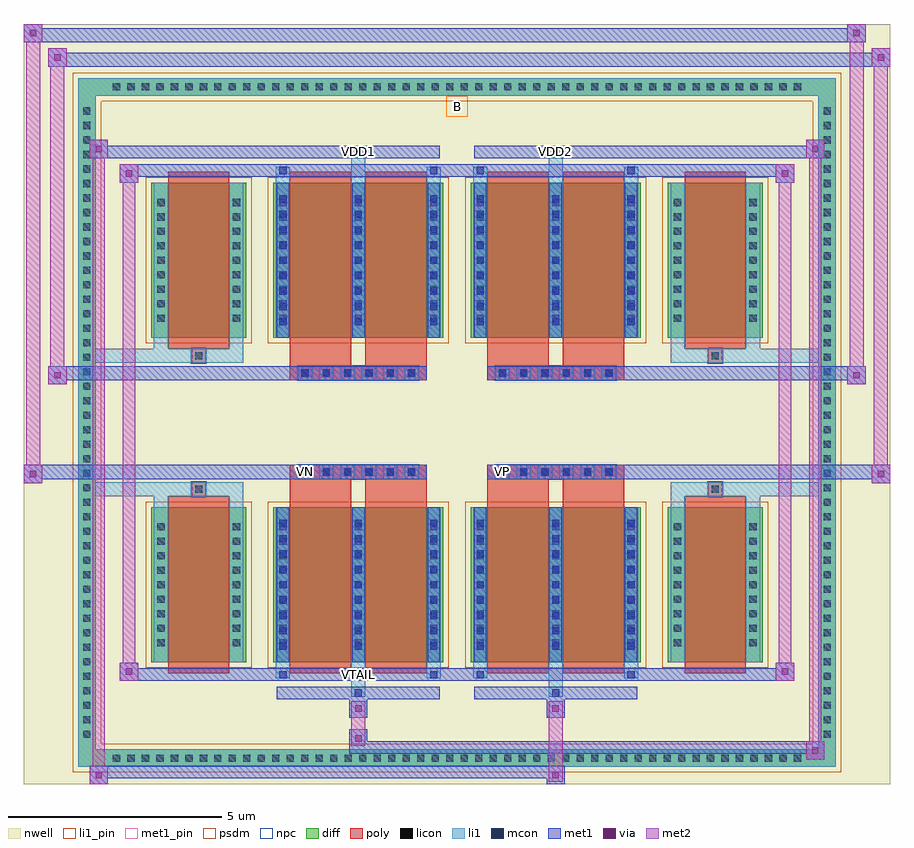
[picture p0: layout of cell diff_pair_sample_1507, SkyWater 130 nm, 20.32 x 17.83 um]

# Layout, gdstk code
import gdstk
lib = gdstk.Library(unit=1e-6, precision=5e-09)
def R(c, l, rs):  # rectangles x0, y0, x1, y1
    for r in rs: c.add(gdstk.rectangle(r[:2], r[2:], *l))
def A(c, l, x, y, w, h, nx, ny, dx, dy):  # array of equal rectangles
    R(c, l, [(x+i*dx, y+j*dy, x+i*dx+w, y+j*dy+h) for i in range(nx) for j in range(ny)])
def P(c, l, *ps):  # polygons
    for p in ps: c.add(gdstk.Polygon(p, *l))
nwell = (64, 20)
diff = (65, 20)
poly = (66, 20)
licon = (66, 44)
li1_pin = (67, 16)
li1 = (67, 20)
mcon = (67, 44)
met1_pin = (68, 16)
met1 = (68, 20)
via = (68, 44)
met2 = (69, 20)
psdm = (94, 20)
npc = (95, 20)

diff_pair_sample_1507 = lib.new_cell('diff_pair_sample_1507')
R(diff_pair_sample_1507, nwell, [(-10.16,-8.48,10.16,9.35), (-7.48,-6.67,-0.01,-0.795), (0.01,-6.67,7.48,-0.795), (-7.48,0.795,-0.01,6.67), (0.01,0.795,7.48,6.67)])
A(diff_pair_sample_1507, diff, -8.195, -8.08, 0.41, 0.41, 48, 2, 0.34, 15.75)
A(diff_pair_sample_1507, diff, -8.89, -7.515, 0.41, 0.41, 1, 44, 0, 0.34)
A(diff_pair_sample_1507, diff, 8.48, -7.515, 0.41, 0.41, 1, 44, 0, 0.34)
R(diff_pair_sample_1507, diff, [(-8.195,-8.08,8.195,-7.67), (-8.89,-7.515,-8.48,7.515), (8.48,-7.515,8.89,7.515), (-7.17,-5.625,-4.95,-1.985), (-4.31,-5.625,-0.32,-1.985), (0.32,-5.625,4.31,-1.985), (4.95,-5.625,7.17,-1.985), (-7.17,1.985,-4.95,5.625), (-4.31,1.985,-0.32,5.625), (0.32,1.985,4.31,5.625), (4.95,1.985,7.17,5.625), (-8.195,7.67,8.195,8.08)])
P(diff_pair_sample_1507, diff, [(8.89,8.08),(-8.89,8.08),(-8.89,-7.67),(-8.48,-7.67),(-8.48,7.67),(8.48,7.67),(8.48,-7.67),(-8.48,-7.67),(-8.89,-7.67),(-8.89,-8.08),(8.89,-8.08)])
A(diff_pair_sample_1507, poly, -3.73, -1.325, 0.33, 0.33, 6, 2, 0.5, 2.32)
A(diff_pair_sample_1507, poly, 0.9, -1.325, 0.33, 0.33, 6, 2, 0.5, 2.32)
R(diff_pair_sample_1507, poly, [(-6.78,-5.88,-5.34,-1.73), (-3.92,-5.88,-2.48,-1.73), (-2.15,-5.88,-0.71,-1.73), (0.71,-5.88,2.15,-1.73), (2.48,-5.88,3.92,-1.73), (5.34,-5.88,6.78,-1.73), (-6.225,-1.73,-5.895,-1.4), (-6.225,-1.73,-5.895,-1.4), (-3.92,-1.73,-2.48,-1.325), (-2.15,-1.73,-0.71,-1.325), (0.71,-1.73,2.15,-1.325), (2.48,-1.73,3.92,-1.325), (5.895,-1.73,6.225,-1.4), (5.895,-1.73,6.225,-1.4), (-3.92,-1.325,-0.71,-0.995), (0.71,-1.325,3.92,-0.995), (-3.92,0.995,-0.71,1.325), (0.71,0.995,3.92,1.325), (-3.92,1.325,-2.48,1.73), (-2.15,1.325,-0.71,1.73), (0.71,1.325,2.15,1.73), (2.48,1.325,3.92,1.73), (-6.225,1.4,-5.895,1.73), (-6.225,1.4,-5.895,1.73), (5.895,1.4,6.225,1.73), (5.895,1.4,6.225,1.73), (-6.78,1.73,-5.34,5.88), (-3.92,1.73,-2.48,5.88), (-2.15,1.73,-0.71,5.88), (0.71,1.73,2.15,5.88), (2.48,1.73,3.92,5.88), (5.34,1.73,6.78,5.88)])
A(diff_pair_sample_1507, licon, -8.075, -7.96, 0.17, 0.17, 48, 2, 0.34, 15.75)
A(diff_pair_sample_1507, licon, -8.77, -7.395, 0.17, 0.17, 1, 44, 0, 0.34)
A(diff_pair_sample_1507, licon, 8.6, -7.395, 0.17, 0.17, 1, 44, 0, 0.34)
A(diff_pair_sample_1507, licon, -7.03, -5.25, 0.17, 0.17, 1, 9, 0, 0.34)
A(diff_pair_sample_1507, licon, -5.26, -5.25, 0.17, 0.17, 1, 9, 0, 0.34)
A(diff_pair_sample_1507, licon, -4.17, -5.25, 0.17, 0.17, 3, 9, 1.77, 0.34)
A(diff_pair_sample_1507, licon, 0.46, -5.25, 0.17, 0.17, 3, 9, 1.77, 0.34)
A(diff_pair_sample_1507, licon, 5.09, -5.25, 0.17, 0.17, 1, 9, 0, 0.34)
A(diff_pair_sample_1507, licon, 6.86, -5.25, 0.17, 0.17, 1, 9, 0, 0.34)
A(diff_pair_sample_1507, licon, -3.65, -1.245, 0.17, 0.17, 6, 2, 0.5, 2.32)
A(diff_pair_sample_1507, licon, 0.98, -1.245, 0.17, 0.17, 6, 2, 0.5, 2.32)
A(diff_pair_sample_1507, licon, -7.03, 2.36, 0.17, 0.17, 1, 9, 0, 0.34)
A(diff_pair_sample_1507, licon, -5.26, 2.36, 0.17, 0.17, 1, 9, 0, 0.34)
A(diff_pair_sample_1507, licon, -4.17, 2.36, 0.17, 0.17, 3, 9, 1.77, 0.34)
A(diff_pair_sample_1507, licon, 0.46, 2.36, 0.17, 0.17, 3, 9, 1.77, 0.34)
A(diff_pair_sample_1507, licon, 5.09, 2.36, 0.17, 0.17, 1, 9, 0, 0.34)
A(diff_pair_sample_1507, licon, 6.86, 2.36, 0.17, 0.17, 1, 9, 0, 0.34)
R(diff_pair_sample_1507, licon, [(-6.145,-1.65,-5.975,-1.48), (5.975,-1.65,6.145,-1.48), (-6.145,1.48,-5.975,1.65), (5.975,1.48,6.145,1.65)])
R(diff_pair_sample_1507, li1_pin, [(-0.25,7.17,0.25,7.67)])
A(diff_pair_sample_1507, li1, -8.155, -8.04, 0.33, 0.33, 48, 2, 0.34, 15.75)
A(diff_pair_sample_1507, li1, -8.85, -7.475, 0.33, 0.33, 1, 44, 0, 0.34)
A(diff_pair_sample_1507, li1, 8.52, -7.475, 0.33, 0.33, 1, 44, 0, 0.34)
A(diff_pair_sample_1507, li1, -4.25, -5.625, 0.33, 3.64, 3, 2, 1.77, 7.61)
A(diff_pair_sample_1507, li1, 0.38, -5.625, 0.33, 3.64, 3, 2, 1.77, 7.61)
A(diff_pair_sample_1507, li1, -7.11, -5.33, 0.33, 0.33, 1, 9, 0, 0.34)
A(diff_pair_sample_1507, li1, -5.34, -5.33, 0.33, 0.33, 1, 9, 0, 0.34)
A(diff_pair_sample_1507, li1, -4.25, -5.33, 0.33, 0.33, 3, 9, 1.77, 0.34)
A(diff_pair_sample_1507, li1, -4.17, -5.33, 0.17, 0.17, 3, 9, 1.77, 0.36)
A(diff_pair_sample_1507, li1, -4.17, -5.33, 0.17, 3.05, 3, 2, 1.77, 7.61)
A(diff_pair_sample_1507, li1, 0.38, -5.33, 0.33, 0.33, 3, 9, 1.77, 0.34)
A(diff_pair_sample_1507, li1, 0.46, -5.33, 0.17, 0.17, 3, 9, 1.77, 0.36)
A(diff_pair_sample_1507, li1, 0.46, -5.33, 0.17, 3.05, 3, 2, 1.77, 7.61)
A(diff_pair_sample_1507, li1, 5.01, -5.33, 0.33, 0.33, 1, 9, 0, 0.34)
A(diff_pair_sample_1507, li1, 6.78, -5.33, 0.33, 0.33, 1, 9, 0, 0.34)
A(diff_pair_sample_1507, li1, -3.73, -1.325, 0.33, 0.33, 6, 2, 0.5, 2.32)
A(diff_pair_sample_1507, li1, 0.9, -1.325, 0.33, 0.33, 6, 2, 0.5, 2.32)
A(diff_pair_sample_1507, li1, -7.11, 2.28, 0.33, 0.33, 1, 9, 0, 0.34)
A(diff_pair_sample_1507, li1, -5.34, 2.28, 0.33, 0.33, 1, 9, 0, 0.34)
A(diff_pair_sample_1507, li1, -4.25, 2.28, 0.33, 0.33, 3, 9, 1.77, 0.34)
A(diff_pair_sample_1507, li1, -4.17, 2.28, 0.17, 0.17, 3, 9, 1.77, 0.36)
A(diff_pair_sample_1507, li1, 0.38, 2.28, 0.33, 0.33, 3, 9, 1.77, 0.34)
A(diff_pair_sample_1507, li1, 0.46, 2.28, 0.17, 0.17, 3, 9, 1.77, 0.36)
A(diff_pair_sample_1507, li1, 5.01, 2.28, 0.33, 0.33, 1, 9, 0, 0.34)
A(diff_pair_sample_1507, li1, 6.78, 2.28, 0.33, 0.33, 1, 9, 0, 0.34)
R(diff_pair_sample_1507, li1, [(-8.89,-8.08,-8.48,-7.67), (-8.89,-8.08,-8.48,-7.67), (-8.48,-8.08,8.48,-7.67), (8.48,-8.08,8.89,-7.67), (8.48,-8.08,8.89,-7.67), (-8.89,-7.67,-8.48,7.67), (8.48,-7.67,8.89,7.67), (-2.48,-6.43,-2.15,-5.625), (-2.4,-6.43,-2.23,-6.26), (2.15,-6.43,2.48,-5.625), (2.23,-6.43,2.4,-6.26), (-4.25,-6,-3.92,-5.625), (-4.17,-6,-4,-5.83), (-0.71,-6,-0.38,-5.625), (-0.63,-6,-0.46,-5.83), (0.38,-6,0.71,-5.625), (0.46,-6,0.63,-5.83), (3.92,-6,4.25,-5.625), (4,-6,4.17,-5.83), (-7.11,-5.625,-6.78,-1.985), (-5.34,-5.625,-5.01,-1.985), (5.01,-5.625,5.34,-1.985), (6.78,-5.625,7.11,-1.985), (-7.11,-1.985,-6.78,-1.4), (-5.34,-1.985,-5.01,-1.4), (5.01,-1.985,5.34,-1.4), (6.78,-1.985,7.11,-1.4), (-8.89,-1.73,-6.225,-1.4), (-7.11,-1.73,-6.225,-1.4), (-6.225,-1.73,-5.895,-1.4), (-5.895,-1.73,-5.01,-1.4), (5.01,-1.73,5.895,-1.4), (5.895,-1.73,6.225,-1.4), (5.895,-1.73,8.89,-1.4), (6.225,-1.73,7.11,-1.4), (-8.89,1.4,-6.225,1.73), (-7.11,1.4,-6.225,1.73), (-7.11,1.4,-6.78,1.985), (-6.225,1.4,-5.895,1.73), (-5.895,1.4,-5.01,1.73), (-5.34,1.4,-5.01,1.985), (5.01,1.4,5.895,1.73), (5.01,1.4,5.34,1.985), (5.895,1.4,6.225,1.73), (5.895,1.4,8.89,1.73), (6.225,1.4,7.11,1.73), (6.78,1.4,7.11,1.985), (-7.11,1.985,-6.78,5.625), (-5.34,1.985,-5.01,5.625), (5.01,1.985,5.34,5.625), (6.78,1.985,7.11,5.625), (-4.25,5.625,-3.92,6), (-2.48,5.625,-2.15,6.43), (-0.71,5.625,-0.38,6), (0.38,5.625,0.71,6), (2.15,5.625,2.48,6.43), (3.92,5.625,4.25,6), (-4.17,5.83,-4,6), (-0.63,5.83,-0.46,6), (0.46,5.83,0.63,6), (4,5.83,4.17,6), (-2.4,6.26,-2.23,6.43), (2.23,6.26,2.4,6.43), (-8.89,7.67,-8.48,8.08), (-8.89,7.67,-8.48,8.08), (-8.48,7.67,8.48,8.08), (8.48,7.67,8.89,8.08), (8.48,7.67,8.89,8.08)])
A(diff_pair_sample_1507, mcon, -4.17, -5.33, 0.17, 0.17, 3, 9, 1.77, 0.36)
A(diff_pair_sample_1507, mcon, 0.46, -5.33, 0.17, 0.17, 3, 9, 1.77, 0.36)
A(diff_pair_sample_1507, mcon, -3.65, -1.245, 0.17, 0.17, 6, 2, 0.5, 2.32)
A(diff_pair_sample_1507, mcon, 0.98, -1.245, 0.17, 0.17, 6, 2, 0.5, 2.32)
A(diff_pair_sample_1507, mcon, -4.17, 2.28, 0.17, 0.17, 3, 9, 1.77, 0.36)
A(diff_pair_sample_1507, mcon, 0.46, 2.28, 0.17, 0.17, 3, 9, 1.77, 0.36)
R(diff_pair_sample_1507, mcon, [(-2.4,-6.43,-2.23,-6.26), (2.23,-6.43,2.4,-6.26), (-4.17,-6,-4,-5.83), (-0.63,-6,-0.46,-5.83), (0.46,-6,0.63,-5.83), (4,-6,4.17,-5.83), (-4.17,5.83,-4,6), (-0.63,5.83,-0.46,6), (0.46,5.83,0.63,6), (4,5.83,4.17,6), (-2.4,6.26,-2.23,6.43), (2.23,6.26,2.4,6.43)])
R(diff_pair_sample_1507, met1_pin, [(-2.45,-6.04,-2.18,-5.77), (-3.7,-1.285,-3.43,-1.015), (0.93,-1.285,1.2,-1.015), (-2.45,6.22,-2.18,6.49), (2.18,6.22,2.45,6.49)])
A(diff_pair_sample_1507, met1, -4.23, -5.625, 0.29, 3.64, 3, 2, 1.77, 7.61)
A(diff_pair_sample_1507, met1, 0.4, -5.625, 0.29, 3.64, 3, 2, 1.77, 7.61)
A(diff_pair_sample_1507, met1, -4.23, -5.39, 0.29, 0.29, 3, 9, 1.77, 0.36)
A(diff_pair_sample_1507, met1, 0.4, -5.39, 0.29, 0.29, 3, 9, 1.77, 0.36)
A(diff_pair_sample_1507, met1, -3.71, -1.305, 0.29, 0.29, 6, 2, 0.5, 2.32)
A(diff_pair_sample_1507, met1, 0.92, -1.305, 0.29, 0.29, 6, 2, 0.5, 2.32)
A(diff_pair_sample_1507, met1, -4.23, 2.22, 0.29, 0.29, 3, 9, 1.77, 0.36)
A(diff_pair_sample_1507, met1, 0.4, 2.22, 0.29, 0.29, 3, 9, 1.77, 0.36)
R(diff_pair_sample_1507, met1, [(-8.62,-8.48,-8.19,-8.05), (2.1,-8.48,2.53,-8.05), (-8.62,-8.34,2.53,-8.05), (8.19,-7.91,8.62,-7.48), (-2.53,-7.77,8.62,-7.48), (-2.53,-7.63,-2.1,-7.2), (-2.53,-6.92,-2.1,-6.49), (2.1,-6.92,2.53,-6.49), (-4.23,-6.49,-0.4,-6.2), (-2.46,-6.49,-2.17,-6.2), (0.4,-6.49,4.23,-6.2), (2.17,-6.49,2.46,-6.2), (-7.91,-6.06,-7.48,-5.63), (-7.91,-6.06,-4.23,-5.77), (-4.23,-6.06,-3.94,-5.77), (-4.23,-6.06,-0.4,-5.77), (-0.69,-6.06,-0.4,-5.77), (-0.4,-6.06,0.4,-5.77), (0.4,-6.06,0.69,-5.77), (0.4,-6.06,4.23,-5.77), (3.94,-6.06,4.23,-5.77), (4.23,-6.06,7.91,-5.77), (7.48,-6.06,7.91,-5.63), (-10.16,-1.425,-9.73,-0.995), (9.73,-1.425,10.16,-0.995), (-10.16,-1.325,-0.71,-0.995), (-3.92,-1.325,-0.71,-0.995), (0.71,-1.325,3.92,-0.995), (0.71,-1.325,10.16,-0.995), (-9.59,0.895,-9.16,1.325), (9.16,0.895,9.59,1.325), (-9.59,0.995,-3.92,1.325), (-3.92,0.995,-0.71,1.325), (0.71,0.995,3.92,1.325), (3.92,0.995,9.59,1.325), (-7.91,5.63,-7.48,6.06), (7.48,5.63,7.91,6.06), (-7.91,5.77,-4.23,6.06), (-4.23,5.77,-3.94,6.06), (-4.23,5.77,-0.4,6.06), (-0.69,5.77,-0.4,6.06), (-0.4,5.77,0.4,6.06), (0.4,5.77,0.69,6.06), (0.4,5.77,4.23,6.06), (3.94,5.77,4.23,6.06), (4.23,5.77,7.91,6.06), (-8.62,6.2,-8.19,6.63), (-8.62,6.2,-4.23,6.49), (-4.23,6.2,-0.4,6.49), (-2.46,6.2,-2.17,6.49), (0.4,6.2,4.23,6.49), (2.17,6.2,2.46,6.49), (4.23,6.2,8.62,6.49), (8.19,6.2,8.62,6.63), (-9.59,8.35,-9.16,8.78), (-9.59,8.35,-7.48,8.68), (-7.48,8.35,7.48,8.68), (7.48,8.35,10.16,8.68), (9.73,8.35,10.16,8.78), (-10.16,8.92,-9.73,9.35), (-10.16,8.92,-7.48,9.25), (-7.48,8.92,7.48,9.25), (7.48,8.92,9.59,9.25), (9.16,8.92,9.59,9.35)])
R(diff_pair_sample_1507, via, [(-8.48,-8.34,-8.33,-8.19), (2.24,-8.34,2.39,-8.19), (8.33,-7.77,8.48,-7.62), (-2.39,-7.49,-2.24,-7.34), (-2.39,-6.78,-2.24,-6.63), (2.24,-6.78,2.39,-6.63), (-7.77,-5.92,-7.62,-5.77), (7.62,-5.92,7.77,-5.77), (-10.02,-1.285,-9.87,-1.135), (9.87,-1.285,10.02,-1.135), (-9.45,1.035,-9.3,1.185), (9.3,1.035,9.45,1.185), (-7.77,5.77,-7.62,5.92), (7.62,5.77,7.77,5.92), (-8.48,6.34,-8.33,6.49), (8.33,6.34,8.48,6.49), (-9.45,8.49,-9.3,8.64), (9.87,8.49,10.02,8.64), (-10.02,9.06,-9.87,9.21), (9.3,9.06,9.45,9.21)])
R(diff_pair_sample_1507, met2, [(-8.62,-8.48,-8.19,-8.05), (-8.55,-8.48,-8.26,6.63), (-8.26,-8.48,-8.19,-8.05), (-8.57,-8.43,-8.24,-8.1), (2.15,-8.43,2.48,-8.1), (2.15,-8.1,2.48,-6.87), (8.19,-7.91,8.62,-7.48), (8.26,-7.91,8.55,6.63), (8.55,-7.91,8.62,-7.48), (8.24,-7.86,8.57,-7.53), (-2.48,-7.58,-2.15,-7.25), (-2.48,-7.25,-2.15,-6.87), (-2.48,-6.87,-2.15,-6.54), (2.15,-6.87,2.48,-6.54), (-7.91,-6.06,-7.48,-5.63), (-7.84,-6.06,-7.55,6.06), (-7.55,-6.06,-7.48,-5.63), (7.48,-6.06,7.91,-5.63), (7.55,-6.06,7.84,6.06), (7.84,-6.06,7.91,-5.63), (-7.86,-6.01,-7.53,-5.68), (7.53,-6.01,7.86,-5.68), (-10.16,-1.425,-9.73,-0.995), (-10.11,-1.425,-9.78,9.35), (-9.78,-1.425,-9.73,-0.995), (9.73,-1.425,10.16,-0.995), (9.78,-1.425,10.11,8.78), (10.11,-1.425,10.16,-0.995), (-10.11,-1.375,-9.78,-1.045), (9.78,-1.375,10.11,-1.045), (-9.59,0.895,-9.16,1.325), (-9.54,0.895,-9.21,8.78), (-9.21,0.895,-9.16,1.325), (9.16,0.895,9.59,1.325), (9.21,0.895,9.54,9.35), (9.54,0.895,9.59,1.325), (-9.54,0.945,-9.21,1.275), (9.21,0.945,9.54,1.275), (-7.91,5.63,-7.48,6.06), (-7.55,5.63,-7.48,6.06), (7.48,5.63,7.91,6.06), (7.84,5.63,7.91,6.06), (-7.86,5.68,-7.53,6.01), (7.53,5.68,7.86,6.01), (-8.62,6.2,-8.19,6.63), (-8.26,6.2,-8.19,6.63), (8.19,6.2,8.62,6.63), (8.55,6.2,8.62,6.63), (-8.57,6.25,-8.24,6.58), (8.24,6.25,8.57,6.58), (-9.59,8.35,-9.16,8.78), (-9.21,8.35,-9.16,8.78), (9.73,8.35,10.16,8.78), (10.11,8.35,10.16,8.78), (-9.54,8.4,-9.21,8.73), (9.78,8.4,10.11,8.73), (-10.16,8.92,-9.73,9.35), (-9.78,8.92,-9.73,9.35), (9.16,8.92,9.59,9.35), (9.54,8.92,9.59,9.35), (-10.11,8.97,-9.78,9.3), (9.21,8.97,9.54,9.3)])
R(diff_pair_sample_1507, psdm, [(-7.3,-5.755,-4.82,-1.855), (-4.44,-5.755,-0.19,-1.855), (0.19,-5.755,4.44,-1.855), (4.82,-5.755,7.3,-1.855), (-7.3,1.855,-4.82,5.755), (-4.44,1.855,-0.19,5.755), (0.19,1.855,4.44,5.755), (4.82,1.855,7.3,5.755)])
P(diff_pair_sample_1507, psdm, [(9.02,8.21),(-9.02,8.21),(-9.02,-7.54),(-8.35,-7.54),(-8.35,7.54),(8.35,7.54),(8.35,-7.54),(-8.35,-7.54),(-9.02,-7.54),(-9.02,-8.21),(9.02,-8.21)])
A(diff_pair_sample_1507, npc, -3.75, -1.345, 0.37, 0.37, 6, 2, 0.5, 2.32)
A(diff_pair_sample_1507, npc, 0.88, -1.345, 0.37, 0.37, 6, 2, 0.5, 2.32)
R(diff_pair_sample_1507, npc, [(-6.245,-1.75,-5.875,-1.38), (5.875,-1.75,6.245,-1.38), (-3.75,-1.345,-2.88,-0.975), (-3.75,-1.345,-2.88,-0.975), (-3.25,-1.345,-2.38,-0.975), (-3.25,-1.345,-2.38,-0.975), (-2.75,-1.345,-1.88,-0.975), (-2.75,-1.345,-1.88,-0.975), (-2.25,-1.345,-1.38,-0.975), (-2.25,-1.345,-1.38,-0.975), (-1.75,-1.345,-0.88,-0.975), (-1.75,-1.345,-0.88,-0.975), (0.88,-1.345,1.75,-0.975), (0.88,-1.345,1.75,-0.975), (1.38,-1.345,2.25,-0.975), (1.38,-1.345,2.25,-0.975), (1.88,-1.345,2.75,-0.975), (1.88,-1.345,2.75,-0.975), (2.38,-1.345,3.25,-0.975), (2.38,-1.345,3.25,-0.975), (2.88,-1.345,3.75,-0.975), (2.88,-1.345,3.75,-0.975), (-3.75,0.975,-2.88,1.345), (-3.75,0.975,-2.88,1.345), (-3.25,0.975,-2.38,1.345), (-3.25,0.975,-2.38,1.345), (-2.75,0.975,-1.88,1.345), (-2.75,0.975,-1.88,1.345), (-2.25,0.975,-1.38,1.345), (-2.25,0.975,-1.38,1.345), (-1.75,0.975,-0.88,1.345), (-1.75,0.975,-0.88,1.345), (0.88,0.975,1.75,1.345), (0.88,0.975,1.75,1.345), (1.38,0.975,2.25,1.345), (1.38,0.975,2.25,1.345), (1.88,0.975,2.75,1.345), (1.88,0.975,2.75,1.345), (2.38,0.975,3.25,1.345), (2.38,0.975,3.25,1.345), (2.88,0.975,3.75,1.345), (2.88,0.975,3.75,1.345), (-6.245,1.38,-5.875,1.75), (5.875,1.38,6.245,1.75)])
diff_pair_sample_1507.add(gdstk.Label('VTAIL', (-2.315,-5.905), layer=68, texttype=5))
diff_pair_sample_1507.add(gdstk.Label('VN', (-3.565,-1.15), layer=68, texttype=5))
diff_pair_sample_1507.add(gdstk.Label('VP', (1.065,-1.15), layer=68, texttype=5))
diff_pair_sample_1507.add(gdstk.Label('B', (0,7.42), layer=67, texttype=5))
diff_pair_sample_1507.add(gdstk.Label('VDD2', (2.315,6.355), layer=68, texttype=5))
diff_pair_sample_1507.add(gdstk.Label('VDD1', (-2.315,6.355), layer=68, texttype=5))

lib.write_gds('diff_pair_sample_1507.gds')
